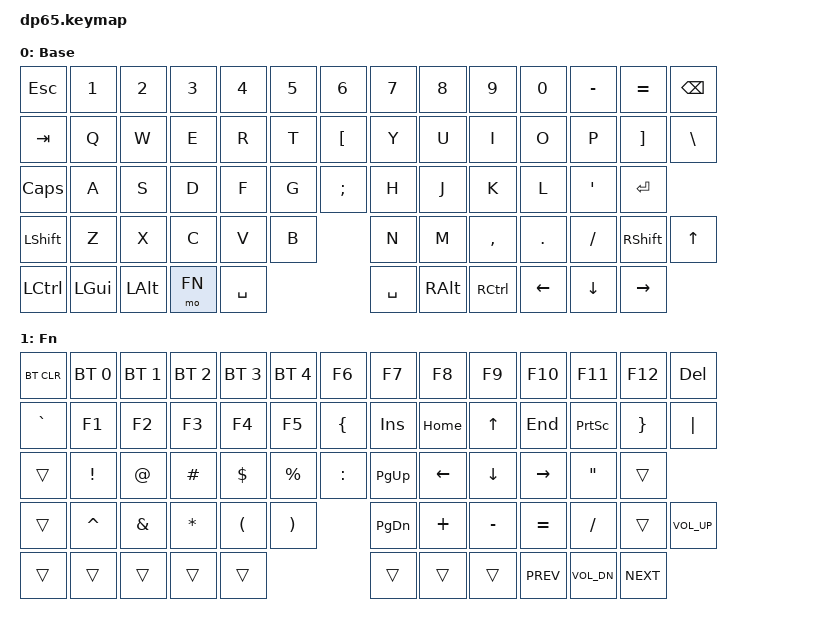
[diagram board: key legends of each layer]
/*
 * DP65 default ZMK keymap scaffold.
 *
 * Layout is intentionally conservative until the final PCB netlist and physical
 * legends are confirmed. The AS5600 scrubber will be added as sensor bindings
 * after an AS5600 ZMK driver/module is introduced.
 */

#include <behaviors.dtsi>
#include <dt-bindings/zmk/bt.h>
#include <dt-bindings/zmk/keys.h>

#define BASE 0
#define FN 1

/ {
    keymap {
        compatible = "zmk,keymap";

        default_layer {
            display-name = "Base";
            bindings = <
                &kp ESC   &kp N1    &kp N2    &kp N3    &kp N4    &kp N5    &kp N6      &kp N7    &kp N8    &kp N9    &kp N0    &kp MINUS &kp EQUAL &kp BSPC
                &kp TAB   &kp Q     &kp W     &kp E     &kp R     &kp T     &kp LBKT    &kp Y     &kp U     &kp I     &kp O     &kp P     &kp RBKT  &kp BSLH
                &kp CAPS  &kp A     &kp S     &kp D     &kp F     &kp G     &kp SEMI    &kp H     &kp J     &kp K     &kp L     &kp SQT   &kp RET
                &kp LSHFT &kp Z     &kp X     &kp C     &kp V     &kp B                 &kp N     &kp M     &kp COMMA &kp DOT   &kp FSLH  &kp RSHFT &kp UP
                &kp LCTRL &kp LGUI  &kp LALT  &mo FN    &kp SPACE                       &kp SPACE &kp RALT  &kp RCTRL &kp LEFT  &kp DOWN  &kp RIGHT
            >;
        };

        fn_layer {
            display-name = "Fn";
            bindings = <
                &bt BT_CLR &bt BT_SEL 0 &bt BT_SEL 1 &bt BT_SEL 2 &bt BT_SEL 3 &bt BT_SEL 4 &kp F6       &kp F7    &kp F8    &kp F9    &kp F10   &kp F11   &kp F12   &kp DEL
                &kp GRAVE  &kp F1       &kp F2       &kp F3       &kp F4       &kp F5       &kp LBRC     &kp INS   &kp HOME  &kp UP    &kp END   &kp PSCRN &kp RBRC  &kp PIPE
                &trans     &kp EXCL     &kp AT       &kp HASH     &kp DLLR     &kp PRCNT    &kp COLON    &kp PG_UP &kp LEFT  &kp DOWN  &kp RIGHT &kp DQT   &trans
                &trans     &kp CARET    &kp AMPS     &kp ASTRK    &kp LPAR     &kp RPAR                 &kp PG_DN &kp PLUS  &kp MINUS &kp EQUAL &kp SLASH &trans   &kp C_VOL_UP
                &trans     &trans       &trans       &trans       &trans                             &trans   &trans    &trans    &kp C_PREV &kp C_VOL_DN &kp C_NEXT
            >;
        };
    };
};
